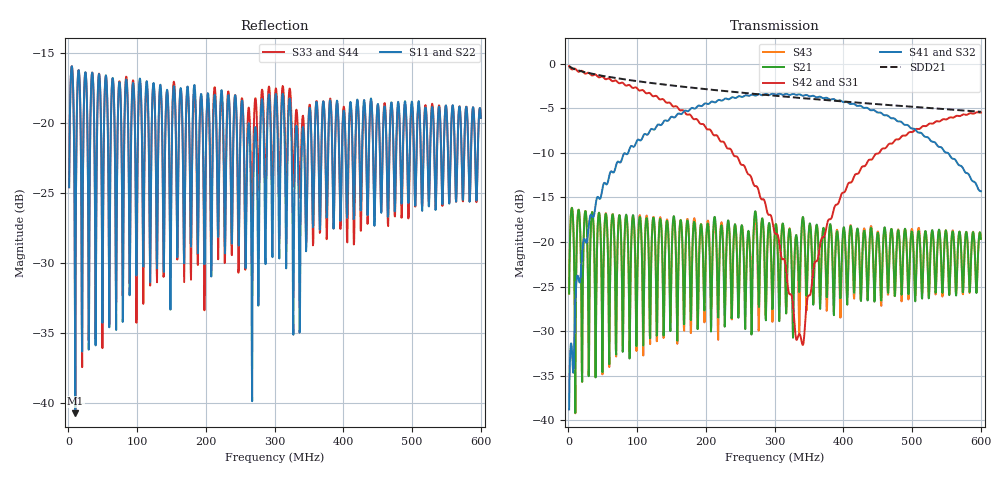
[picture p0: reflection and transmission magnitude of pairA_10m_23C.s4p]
! synthetic 10 m pair (cablecheck.synth) with VNA noise, 23 C
! synthetic measurement, noise -85.0 dB
# Hz S RI R 50
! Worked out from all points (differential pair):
!   1200 points, 1 MHz to 600 MHz, reference 50 ohm
!   strongest paths, dB at 1 MHz, 150.9 MHz, 300.7 MHz, 450.6 MHz, 600 MHz:
!     S41: -38.8, -5.9, -3.5, -5.5, -14.3
!     S32: -38.8, -6.0, -3.5, -5.5, -14.3
!     S42: -0.3, -4.7, -19.1, -10.1, -5.5
!     S31: -0.3, -4.7, -19.1, -10.1, -5.5
!     S21: -25.8, -19.5, -18.4, -19.0, -19.7
!     S43: -25.8, -19.9, -18.4, -18.9, -19.6
!   taken as a pair (ports 2,1 in; 4,3 out), SDD21 dB: -0.3, -2.4, -3.6, -4.5, -5.4
!   lowest |S11| = -40.7 dB at 9.992 MHz (marker M1), VSWR 1.02, Z = 50.8 + j0.403 ohm
!   |S11| at or under -10 dB: start of sweep to end of sweep
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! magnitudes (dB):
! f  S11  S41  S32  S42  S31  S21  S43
! 1 MHz  -24.6  -38.8  -38.8  -0.3  -0.3  -25.8  -25.8
! 9.992 MHz  -40.7  -26.9  -27.0  -0.6  -0.6  -39.2  -39.2
! 100.4 MHz  -22.8  -8.5  -8.6  -2.8  -2.8  -23.3  -22.8
! 256.3 MHz  -24.6  -3.6  -3.6  -11.5  -11.5  -26.6  -24.3
! 339.7 MHz  -21.4  -3.6  -3.6  -31.3  -31.3  -17.8  -18.3
! 417.2 MHz  -22.2  -4.6  -4.6  -12.4  -12.4  -22.6  -22.7
! 600 MHz  -19.6  -14.3  -14.3  -5.5  -5.5  -19.7  -19.6
